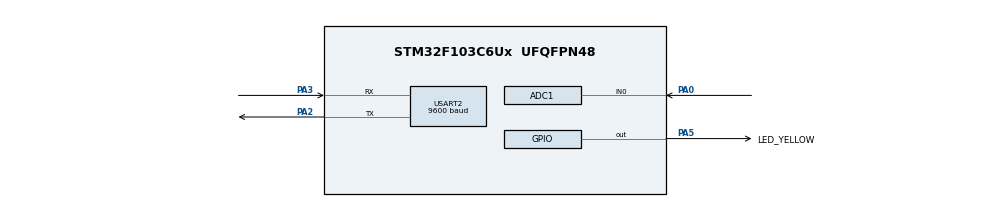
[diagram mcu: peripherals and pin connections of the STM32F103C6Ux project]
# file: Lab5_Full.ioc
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ADC1.Channel-0\#ChannelRegularConversion=ADC_CHANNEL_0
ADC1.ContinuousConvMode=ENABLE
ADC1.NbrOfConversionFlag=1
ADC1.Rank-0\#ChannelRegularConversion=1
ADC1.SamplingTime-0\#ChannelRegularConversion=ADC_SAMPLETIME_1CYCLE_5
ADC1.master=1
Mcu.Family=STM32F1
Mcu.Name=STM32F103C6Ux
Mcu.Package=UFQFPN48
NVIC.PriorityGroup=NVIC_PRIORITYGROUP_4
NVIC.USART2_IRQn=true\:0\:0\:false\:false\:true\:true\:true
PA0-WKUP.Signal=ADCx_IN0
PA2.Mode=Asynchronous
PA2.Signal=USART2_TX
PA3.Mode=Asynchronous
PA3.Signal=USART2_RX
PA5.GPIO_Label=LED_YELLOW
PA5.Signal=GPIO_Output
ProjectManager.HeapSize=0x200
ProjectManager.StackSize=0x400
ProjectManager.TargetToolchain=STM32CubeIDE
RCC.APB1Freq_Value=8000000
RCC.APB2Freq_Value=8000000
SH.ADCx_IN0.0=ADC1_IN0,IN0
USART2.BaudRate=9600
USART2.VirtualMode=VM_ASYNC
VP_SYS_VS_ND.Mode=No_Debug
board=custom

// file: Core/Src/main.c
/* USER CODE BEGIN Header */
/**
  ******************************************************************************
  * @file           : main.c
  * @brief          : Main program body
  ******************************************************************************
  * @attention
  *
  * <h2><center>&copy; Copyright (c) 2025 STMicroelectronics.
  * All rights reserved.</center></h2>
  *
  * This software component is licensed by ST under BSD 3-Clause license,
  * the "License"; You may not use this file except in compliance with the
  * License. You may obtain a copy of the License at:
  *                        opensource.org/licenses/BSD-3-Clause
  *
  ******************************************************************************
  */
/* USER CODE END Header */
#include "main.h"

/* USER CODE BEGIN Includes */
#include <stdio.h>
#include "command_parser.h"
#include "uart_fsm.h"
/* USER CODE END Includes */

ADC_HandleTypeDef hadc1;

UART_HandleTypeDef huart2;

/* USER CODE BEGIN PV */
char str[20];
uint8_t buffer_flag = 0;
/* USER CODE END PV */

void SystemClock_Config(void);
static void MX_GPIO_Init(void);
static void MX_USART2_UART_Init(void);
static void MX_ADC1_Init(void);

/* USER CODE BEGIN 0 */
void HAL_UART_RxCpltCallback(UART_HandleTypeDef *huart) {
	if (huart->Instance == USART2) {
		//HAL_UART_Transmit(&huart2, &temp, 1, 50);
		buffer_flag = 1;

		HAL_UART_Receive_IT(&huart2, &temp, 1);
	}
}
/* USER CODE END 0 */

int main(void)
{

  /* MCU Configuration--------------------------------------------------------*/

  /* Reset of all peripherals, Initializes the Flash interface and the Systick. */
  HAL_Init();

  /* Configure the system clock */
  SystemClock_Config();

  /* Initialize all configured peripherals */
  MX_GPIO_Init();
  MX_USART2_UART_Init();
  MX_ADC1_Init();
  /* USER CODE BEGIN 2 */
  HAL_UART_Receive_IT(&huart2, &temp, 1);
  HAL_ADC_Start(&hadc1);
  /* USER CODE END 2 */

  /* Infinite loop */
  /* USER CODE BEGIN WHILE */
  while (1)
  {
	 /*ADC_value = HAL_ADC_GetValue(&hadc1);
	  HAL_UART_Transmit(&huart2, (void *)str, sprintf(str, "%d\n", ADC_value), 1000);*/

	  //HAL_Delay(500);

	  if (buffer_flag == 1) {
		  command_parser_fsm();
		  buffer_flag = 0;
	  }

	  uart_communication_fsm();

	  static uint32_t timestamp = 0;
	  if (HAL_GetTick() - timestamp >= 500) {
	      timestamp = HAL_GetTick();
	      HAL_GPIO_TogglePin(LED_YELLOW_GPIO_Port, LED_YELLOW_Pin);
	  }
    /* USER CODE END WHILE */

  }
}

void SystemClock_Config(void)
{
  RCC_OscInitTypeDef RCC_OscInitStruct = {0};
  RCC_ClkInitTypeDef RCC_ClkInitStruct = {0};
  RCC_PeriphCLKInitTypeDef PeriphClkInit = {0};

  /** Initializes the RCC Oscillators according to the specified parameters
  * in the RCC_OscInitTypeDef structure.
  */
  RCC_OscInitStruct.OscillatorType = RCC_OSCILLATORTYPE_HSI;
  RCC_OscInitStruct.HSIState = RCC_HSI_ON;
  RCC_OscInitStruct.HSICalibrationValue = RCC_HSICALIBRATION_DEFAULT;
  RCC_OscInitStruct.PLL.PLLState = RCC_PLL_NONE;
  if (HAL_RCC_OscConfig(&RCC_OscInitStruct) != HAL_OK)
  {
    Error_Handler();
  }
  /** Initializes the CPU, AHB and APB buses clocks
  */
  RCC_ClkInitStruct.ClockType = RCC_CLOCKTYPE_HCLK|RCC_CLOCKTYPE_SYSCLK
                              |RCC_CLOCKTYPE_PCLK1|RCC_CLOCKTYPE_PCLK2;
  RCC_ClkInitStruct.SYSCLKSource = RCC_SYSCLKSOURCE_HSI;
  RCC_ClkInitStruct.AHBCLKDivider = RCC_SYSCLK_DIV1;
  RCC_ClkInitStruct.APB1CLKDivider = RCC_HCLK_DIV1;
  RCC_ClkInitStruct.APB2CLKDivider = RCC_HCLK_DIV1;

  if (HAL_RCC_ClockConfig(&RCC_ClkInitStruct, FLASH_LATENCY_0) != HAL_OK)
  {
    Error_Handler();
  }
  PeriphClkInit.PeriphClockSelection = RCC_PERIPHCLK_ADC;
  PeriphClkInit.AdcClockSelection = RCC_ADCPCLK2_DIV2;
  if (HAL_RCCEx_PeriphCLKConfig(&PeriphClkInit) != HAL_OK)
  {
    Error_Handler();
  }
}

static void MX_ADC1_Init(void)
{

  ADC_ChannelConfTypeDef sConfig = {0};

  /** Common config
  */
  hadc1.Instance = ADC1;
  hadc1.Init.ScanConvMode = ADC_SCAN_DISABLE;
  hadc1.Init.ContinuousConvMode = ENABLE;
  hadc1.Init.DiscontinuousConvMode = DISABLE;
  hadc1.Init.ExternalTrigConv = ADC_SOFTWARE_START;
  hadc1.Init.DataAlign = ADC_DATAALIGN_RIGHT;
  hadc1.Init.NbrOfConversion = 1;
  if (HAL_ADC_Init(&hadc1) != HAL_OK)
  {
    Error_Handler();
  }
  /** Configure Regular Channel
  */
  sConfig.Channel = ADC_CHANNEL_0;
  sConfig.Rank = ADC_REGULAR_RANK_1;
  sConfig.SamplingTime = ADC_SAMPLETIME_1CYCLE_5;
  if (HAL_ADC_ConfigChannel(&hadc1, &sConfig) != HAL_OK)
  {
    Error_Handler();
  }

}

static void MX_USART2_UART_Init(void)
{

  huart2.Instance = USART2;
  huart2.Init.BaudRate = 9600;
  huart2.Init.WordLength = UART_WORDLENGTH_8B;
  huart2.Init.StopBits = UART_STOPBITS_1;
  huart2.Init.Parity = UART_PARITY_NONE;
  huart2.Init.Mode = UART_MODE_TX_RX;
  huart2.Init.HwFlowCtl = UART_HWCONTROL_NONE;
  huart2.Init.OverSampling = UART_OVERSAMPLING_16;
  if (HAL_UART_Init(&huart2) != HAL_OK)
  {
    Error_Handler();
  }

}

static void MX_GPIO_Init(void)
{
  GPIO_InitTypeDef GPIO_InitStruct = {0};

  /* GPIO Ports Clock Enable */
  __HAL_RCC_GPIOA_CLK_ENABLE();

  /*Configure GPIO pin Output Level */
  HAL_GPIO_WritePin(LED_YELLOW_GPIO_Port, LED_YELLOW_Pin, GPIO_PIN_RESET);

  /*Configure GPIO pin : LED_YELLOW_Pin */
  GPIO_InitStruct.Pin = LED_YELLOW_Pin;
  GPIO_InitStruct.Mode = GPIO_MODE_OUTPUT_PP;
  GPIO_InitStruct.Pull = GPIO_NOPULL;
  GPIO_InitStruct.Speed = GPIO_SPEED_FREQ_LOW;
  HAL_GPIO_Init(LED_YELLOW_GPIO_Port, &GPIO_InitStruct);

}

void Error_Handler(void)
{
  __disable_irq();
  while (1)
  {
  }
}

/************************ (C) COPYRIGHT STMicroelectronics *****END OF FILE****/
